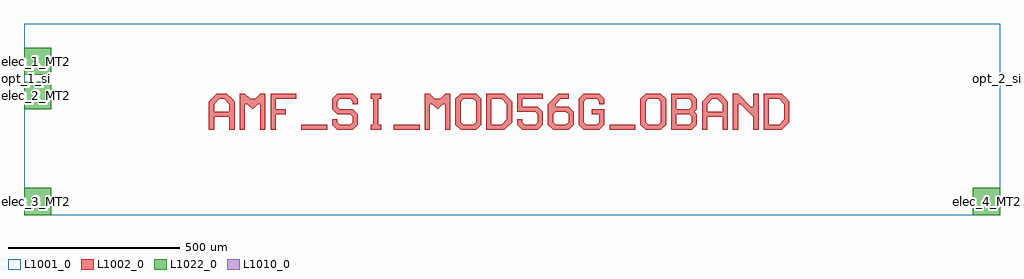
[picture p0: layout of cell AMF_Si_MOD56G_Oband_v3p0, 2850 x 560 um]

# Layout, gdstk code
import gdstk
lib = gdstk.Library(unit=1e-6, precision=1e-09)
def R(c, l, rs):  # rectangles x0, y0, x1, y1
    for r in rs: c.add(gdstk.rectangle(r[:2], r[2:], *l))
def P(c, l, *ps):  # polygons
    for p in ps: c.add(gdstk.Polygon(p, *l))
L1001_0 = (1001, 0)
L1002_0 = (1002, 0)
L1010_0 = (1010, 0)
L1022_0 = (1022, 0)

amf_si_mod56g_oband_v3p0 = lib.new_cell('AMF_Si_MOD56G_Oband_v3p0')
R(amf_si_mod56g_oband_v3p0, L1001_0, [(0,-400,2850,160)])
R(amf_si_mod56g_oband_v3p0, L1002_0, [(810,-150,885,-135), (1080,-150,1155,-135), (1710,-150,1785,-135)])
P(amf_si_mod56g_oband_v3p0, L1002_0, [(540,-150),(540,-67.5),(562.5,-45),(592.5,-45),(607.5,-60),(570,-60),(555,-75),(555,-97.5),(600,-97.5),(600,-75),(585,-60),(607.5,-60),(615,-67.5),(615,-150),(600,-150),(600,-112.5),(555,-112.5),(555,-150)],
  [(630,-150),(630,-45),(645,-45),(660,-60),(675,-60),(690,-45),(705,-45),(705,-150),(690,-150),(690,-75),(682.5,-75),(667.5,-90),(652.5,-75),(645,-75),(645,-150)],
  [(720,-150),(720,-45),(795,-45),(795,-60),(735,-60),(735,-90),(765,-90),(765,-105),(735,-105),(735,-150)],
  [(915,-150),(900,-135),(900,-120),(915,-120),(915,-127.5),(922.5,-135),(952.5,-135),(960,-127.5),(960,-112.5),(952.5,-105),(915,-105),(900,-90),(900,-60),(915,-45),(960,-45),(975,-60),(975,-75),(960,-75),(960,-67.5),(952.5,-60),(922.5,-60),(915,-67.5),(915,-82.5),(922.5,-90),(960,-90),(975,-105),(975,-135),(960,-150)],
  [(1012.5,-150),(1012.5,-135),(1020,-135),(1020,-60),(1012.5,-60),(1012.5,-45),(1042.5,-45),(1042.5,-60),(1035,-60),(1035,-135),(1042.5,-135),(1042.5,-150)],
  [(1170,-150),(1170,-45),(1185,-45),(1200,-60),(1215,-60),(1230,-45),(1245,-45),(1245,-150),(1230,-150),(1230,-75),(1222.5,-75),(1207.5,-90),(1192.5,-75),(1185,-75),(1185,-150)],
  [(1275,-150),(1260,-135),(1260,-60),(1275,-45),(1320,-45),(1335,-60),(1335,-97.5),(1320,-97.5),(1320,-67.5),(1312.5,-60),(1282.5,-60),(1275,-67.5),(1275,-127.5),(1282.5,-135),(1312.5,-135),(1320,-127.5),(1320,-97.5),(1335,-97.5),(1335,-135),(1320,-150)],
  [(1350,-150),(1350,-45),(1402.5,-45),(1417.5,-60),(1365,-60),(1365,-135),(1395,-135),(1410,-120),(1410,-75),(1395,-60),(1417.5,-60),(1425,-67.5),(1425,-127.5),(1402.5,-150)],
  [(1455,-150),(1440,-135),(1440,-120),(1455,-120),(1455,-127.5),(1462.5,-135),(1492.5,-135),(1500,-127.5),(1500,-105),(1492.5,-97.5),(1440,-97.5),(1440,-45),(1515,-45),(1515,-60),(1455,-60),(1455,-82.5),(1500,-82.5),(1515,-97.5),(1515,-135),(1500,-150)],
  [(1545,-150),(1530,-135),(1530,-75),(1560,-45),(1590,-45),(1590,-60),(1567.5,-60),(1552.5,-75),(1552.5,-82.5),(1590,-82.5),(1605,-97.5),(1552.5,-97.5),(1545,-105),(1545,-127.5),(1552.5,-135),(1582.5,-135),(1590,-127.5),(1590,-105),(1582.5,-97.5),(1605,-97.5),(1605,-135),(1590,-150)],
  [(1635,-150),(1620,-135),(1620,-60),(1635,-45),(1680,-45),(1695,-60),(1695,-75),(1680,-75),(1680,-67.5),(1672.5,-60),(1642.5,-60),(1635,-67.5),(1635,-127.5),(1642.5,-135),(1672.5,-135),(1680,-127.5),(1680,-105),(1657.5,-105),(1657.5,-90),(1695,-90),(1695,-135),(1680,-150)],
  [(1815,-150),(1800,-135),(1800,-60),(1815,-45),(1860,-45),(1875,-60),(1875,-97.5),(1860,-97.5),(1860,-67.5),(1852.5,-60),(1822.5,-60),(1815,-67.5),(1815,-127.5),(1822.5,-135),(1852.5,-135),(1860,-127.5),(1860,-97.5),(1875,-97.5),(1875,-135),(1860,-150)],
  [(1890,-150),(1890,-45),(1950,-45),(1965,-60),(1905,-60),(1905,-90),(1942.5,-90),(1950,-82.5),(1950,-67.5),(1942.5,-60),(1965,-60),(1965,-90),(1957.5,-97.5),(1965,-105),(1905,-105),(1905,-135),(1942.5,-135),(1950,-127.5),(1950,-112.5),(1942.5,-105),(1965,-105),(1965,-135),(1950,-150)],
  [(1980,-150),(1980,-67.5),(2002.5,-45),(2032.5,-45),(2047.5,-60),(2010,-60),(1995,-75),(1995,-97.5),(2040,-97.5),(2040,-75),(2025,-60),(2047.5,-60),(2055,-67.5),(2055,-150),(2040,-150),(2040,-112.5),(1995,-112.5),(1995,-150)],
  [(2070,-150),(2070,-45),(2085,-45),(2122.5,-82.5),(2130,-82.5),(2130,-45),(2145,-45),(2145,-150),(2130,-150),(2130,-112.5),(2092.5,-75),(2085,-75),(2085,-150)],
  [(2160,-150),(2160,-45),(2212.5,-45),(2227.5,-60),(2175,-60),(2175,-135),(2205,-135),(2220,-120),(2220,-75),(2205,-60),(2227.5,-60),(2235,-67.5),(2235,-127.5),(2212.5,-150)])
R(amf_si_mod56g_oband_v3p0, L1010_0, [(0,-0.205,0.41,0.205), (2849.59,-0.205,2850,0.205)])
R(amf_si_mod56g_oband_v3p0, L1022_0, [(0,-400,80,-320), (2770,-400,2850,-320), (0,-90,80,-10), (0,10,80,90)])
amf_si_mod56g_oband_v3p0.add(gdstk.Label('opt_1_si', (0,0), layer=1010, texttype=0))
amf_si_mod56g_oband_v3p0.add(gdstk.Label('opt_2_si', (2850,0), layer=1010, texttype=0))
amf_si_mod56g_oband_v3p0.add(gdstk.Label('elec_1_MT2', (0,50), layer=1022, texttype=0))
amf_si_mod56g_oband_v3p0.add(gdstk.Label('elec_2_MT2', (0,-50), layer=1022, texttype=0))
amf_si_mod56g_oband_v3p0.add(gdstk.Label('elec_3_MT2', (0,-360), layer=1022, texttype=0))
amf_si_mod56g_oband_v3p0.add(gdstk.Label('elec_4_MT2', (2850,-360), layer=1022, texttype=0))

lib.write_gds('AMF_Si_MOD56G_Oband_v3p0.gds')
